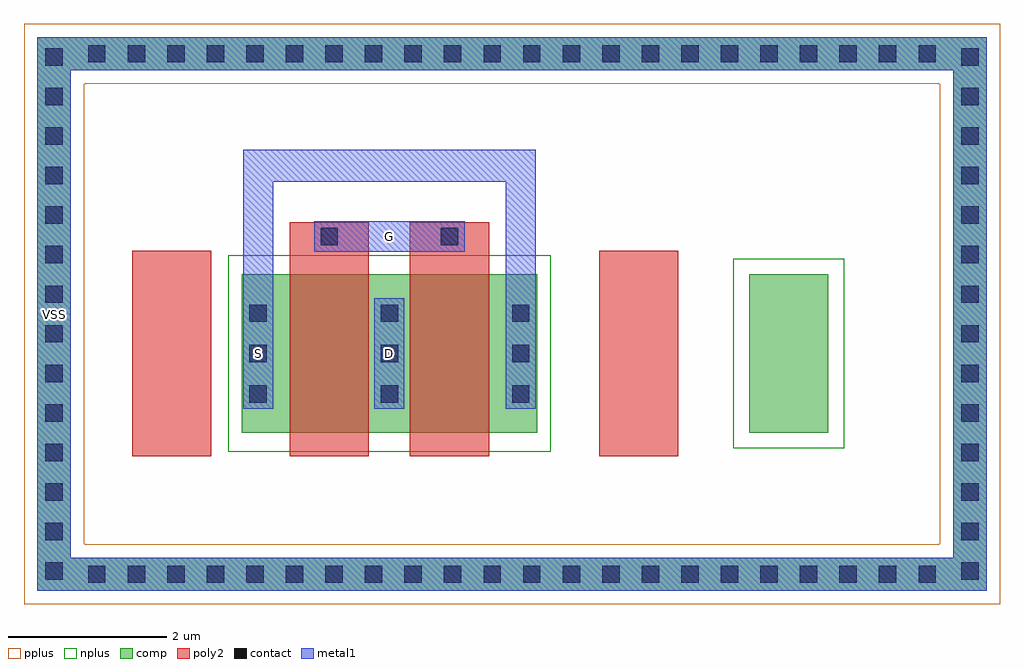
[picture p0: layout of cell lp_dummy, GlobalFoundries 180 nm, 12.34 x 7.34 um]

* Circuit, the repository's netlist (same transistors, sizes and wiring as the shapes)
* NGSPICE file created from lp_dummy.ext - technology: gf180mcuD

.subckt nfet__4 a_342_n60# a_238_0# a_542_0# a_38_n60# a_n84_0# VSUBS
X0 a_542_0# a_342_n60# a_238_0# VSUBS nfet_03v3 ad=1.22p pd=5.22u as=0.52p ps=2.52u w=2u l=1u
X1 a_238_0# a_38_n60# a_n84_0# VSUBS nfet_03v3 ad=0.52p pd=2.52u as=1.22p ps=5.22u w=2u l=1u
.ends

.subckt lp_dummy S D G VSS
Xnfet__4_0 G D S G S VSS nfet__4
.ends

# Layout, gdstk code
import gdstk
lib = gdstk.Library(unit=1e-6, precision=1e-09)
def R(c, l, rs):  # rectangles x0, y0, x1, y1
    for r in rs: c.add(gdstk.rectangle(r[:2], r[2:], *l))
def A(c, l, x, y, w, h, nx, ny, dx, dy):  # array of equal rectangles
    R(c, l, [(x+i*dx, y+j*dy, x+i*dx+w, y+j*dy+h) for i in range(nx) for j in range(ny)])
comp = (22, 0)
poly2 = (30, 0)
pplus = (31, 0)
nplus = (32, 0)
contact = (33, 0)
metal1 = (34, 0)

nfet__4 = lib.new_cell('nfet__4')
R(nfet__4, comp, [(-0.42,0,0,2), (0,0,2.9,2), (2.9,0,3.32,2)])
R(nfet__4, poly2, [(0.19,-0.3,1.19,2.3), (1.71,-0.3,2.71,2.3), (0.19,2.3,1.19,2.66), (1.71,2.3,2.71,2.66)])
R(nfet__4, nplus, [(-0.59,-0.24,3.49,2.24)])
A(nfet__4, contact, -0.32, 0.38, 0.22, 0.22, 3, 3, 1.66, 0.51)
R(nfet__4, contact, [(0.58,2.37,0.8,2.59), (2.1,2.37,2.32,2.59)])
A(nfet__4, metal1, -0.4, 0.3, 0.38, 1.4, 3, 1, 1.66, 0)
R(nfet__4, metal1, [(0.5,2.285,0.88,2.675), (2.02,2.285,2.4,2.675)])

lp_dummy = lib.new_cell('lp_dummy')
R(lp_dummy, comp, [(-3,-2,-2.58,5), (-2.58,-2,8.58,-1.58), (8.58,-2,9,5), (6,0,7,2), (-2.58,4.58,8.58,5)])
R(lp_dummy, poly2, [(-1.8,-0.3,-0.8,2.3), (4.1,-0.3,5.1,2.3)])
R(lp_dummy, pplus, [(-3.17,-2.17,9.17,-1.41), (-3.17,-2.17,-2.41,5.17), (8.41,-2.17,9.17,5.17), (-3.17,4.41,9.17,5.17)])
R(lp_dummy, nplus, [(5.8,-0.2,7.2,2.2)])
A(lp_dummy, contact, -2.36, -1.9, 0.22, 0.22, 22, 2, 0.5, 6.58)
A(lp_dummy, contact, -2.9, -1.86, 0.22, 0.22, 1, 14, 0, 0.5)
A(lp_dummy, contact, 8.68, -1.86, 0.22, 0.22, 1, 14, 0, 0.5)
R(lp_dummy, metal1, [(-3,-2,-2.58,5), (-2.58,-2,8.58,-1.58), (8.58,-2,9,5), (-0.4,1.7,-0.02,3.575), (2.92,1.7,3.3,3.575), (0.5,2.285,2.4,2.675), (-0.4,3.175,3.3,3.575), (-2.58,4.58,8.58,5)])
lp_dummy.add(gdstk.Reference(nfet__4, (0,0)))
lp_dummy.add(gdstk.Label('S', (-0.21,1), layer=34, texttype=10))
lp_dummy.add(gdstk.Label('D', (1.45,1), layer=34, texttype=10))
lp_dummy.add(gdstk.Label('G', (1.45,2.48), layer=34, texttype=10))
lp_dummy.add(gdstk.Label('VSS', (-2.79,1.5), layer=34, texttype=10))

lib.write_gds('lp_dummy.gds')
